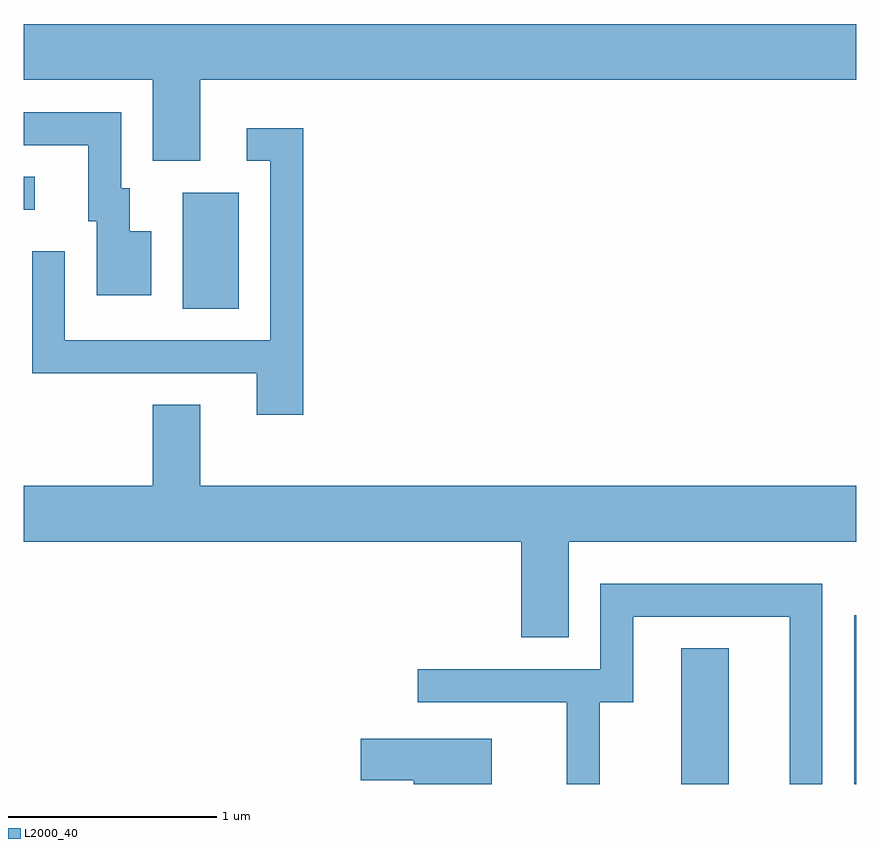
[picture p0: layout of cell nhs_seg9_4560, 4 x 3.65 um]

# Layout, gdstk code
import gdstk
lib = gdstk.Library(unit=1e-6, precision=1e-09)
def R(c, l, rs):  # rectangles x0, y0, x1, y1
    for r in rs: c.add(gdstk.rectangle(r[:2], r[2:], *l))
def P(c, l, *ps):  # polygons
    for p in ps: c.add(gdstk.Polygon(p, *l))
L2000_40 = (2000, 40)

nhs_seg9_4560 = lib.new_cell('nhs_seg9_4560')
R(nhs_seg9_4560, L2000_40, [(322.771,1988.432,322.999,1989.084), (323.601,1988.432,323.611,1989.244), (320.376,1990.716,320.644,1991.274), (319.611,1991.191,319.663,1991.349)])
P(nhs_seg9_4560, L2000_40, [(320.459,1991.816),(323.611,1991.816),(323.611,1992.084),(319.611,1992.084),(319.611,1991.816),(320.231,1991.816),(320.231,1991.426),(320.459,1991.426)],
  [(320.224,1991.089),(320.119,1991.089),(320.119,1991.294),(320.079,1991.294),(320.079,1991.659),(319.611,1991.659),(319.611,1991.501),(319.921,1991.501),(319.921,1991.136),(319.961,1991.136),(319.961,1990.781),(320.224,1990.781)],
  [(320.954,1991.584),(320.683,1991.584),(320.683,1991.426),(320.796,1991.426),(320.796,1990.564),(319.809,1990.564),(319.809,1990.993),(319.651,1990.993),(319.651,1990.406),(320.731,1990.406),(320.731,1990.206),(320.954,1990.206)],
  [(322.229,1989.596),(323.611,1989.596),(323.611,1989.864),(320.459,1989.864),(320.459,1990.254),(320.231,1990.254),(320.231,1989.864),(319.611,1989.864),(319.611,1989.596),(322.001,1989.596),(322.001,1989.136),(322.229,1989.136)],
  [(322.379,1988.826),(322.539,1988.826),(322.539,1989.236),(323.291,1989.236),(323.291,1988.432),(323.449,1988.432),(323.449,1989.394),(322.381,1989.394),(322.381,1988.984),(321.503,1988.984),(321.503,1988.826),(322.221,1988.826),(322.221,1988.432),(322.379,1988.432)],
  [(321.859,1988.649),(321.231,1988.649),(321.231,1988.451),(321.486,1988.451),(321.486,1988.432),(321.859,1988.432)])

lib.write_gds('nhs_seg9_4560.gds')
